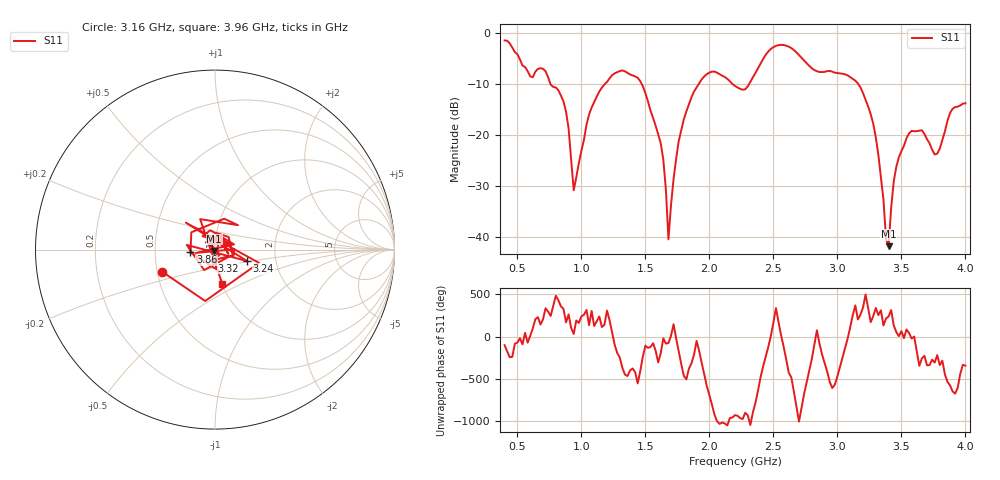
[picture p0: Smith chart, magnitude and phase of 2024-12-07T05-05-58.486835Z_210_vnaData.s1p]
!Created with skrf (http://scikit-rf.org).
# Hz S RI R 50.0
!freq ReS11 ImS11
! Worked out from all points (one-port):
!   181 points, 400 MHz to 4 GHz, reference 50 ohm
!   lowest |S11| = -41.8 dB at 3.4 GHz (marker M1), VSWR 1.02, Z = 49.6 - j0.691 ohm
!   |S11| at or under -10 dB: 757.5 MHz to 1.186 GHz (428.2 MHz wide, 44.1 % of centre); 1.47 GHz to 1.917 GHz (447.3 MHz wide, 26.4 % of centre); 3.161 GHz to end of sweep (the widest 3 of 4)
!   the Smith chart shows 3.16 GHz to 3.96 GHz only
!   S11 on the Smith chart (normalised r, x): 3.16 GHz: 0.53, -0.15; 3.24 GHz: 1.42, -0.19; 3.32 GHz: 0.96, -0.12; 3.86 GHz: 0.76, -0.02; 3.96 GHz: 1.01, -0.40
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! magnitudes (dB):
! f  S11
! 400 MHz  -1.5
! 860 MHz  -13.5
! 900 MHz  -18.8
! 940 MHz  -30.8
! 1.08 GHz  -14.6
! 1.3 GHz  -7.5
! 1.46 GHz  -9.5
! 1.6 GHz  -19.9
! 1.64 GHz  -24.9
! 1.68 GHz  -40.4
! 1.76 GHz  -21.2
! 1.96 GHz  -8.6
! 2.2 GHz  -10.4
! 2.28 GHz  -11.1
! 2.5 GHz  -2.8
! 2.66 GHz  -3.4
! 3.1 GHz  -8.7
! 3.16 GHz  -9.9
! 3.24 GHz  -14.4
! 3.32 GHz  -23.9
! 3.38 GHz  -40.4
! 3.4 GHz  -41.8
! 3.46 GHz  -26.3
! 3.56 GHz  -19.7
! 3.76 GHz  -23.8
! 3.86 GHz  -17.2
! 3.96 GHz  -14.2
! 4 GHz  -13.8
